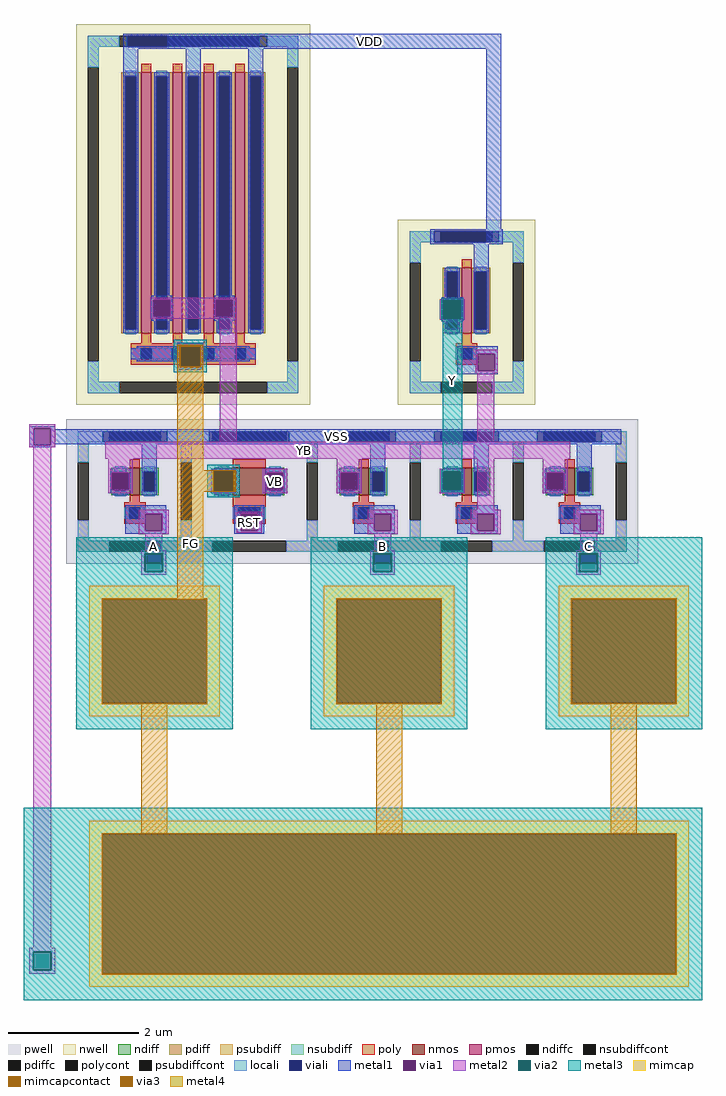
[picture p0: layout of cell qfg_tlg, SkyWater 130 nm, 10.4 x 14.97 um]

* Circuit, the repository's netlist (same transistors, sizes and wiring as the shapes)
* schematic netlist of the v2 cell (generated from sim/v2/ngs.py)

.subckt qfg_tlg A B C RST VB Y YB FG VDD VSS
XMP  YB FG VDD VDD sky130_fd_pr__pfet_01v8 W=16.0 L=0.15
XMNI0 YB A VSS VSS sky130_fd_pr__nfet_01v8 W=0.42 L=0.15
XMNI1 YB B VSS VSS sky130_fd_pr__nfet_01v8 W=0.42 L=0.15
XMNI2 YB C VSS VSS sky130_fd_pr__nfet_01v8 W=0.42 L=0.15
XCI0 FG A sky130_fd_pr__cap_mim_m3_1 W=2.0 L=2.0 MF=1
XCI1 FG B sky130_fd_pr__cap_mim_m3_1 W=2.0 L=2.0 MF=1
XCI2 FG C sky130_fd_pr__cap_mim_m3_1 W=2.0 L=2.0 MF=1
XCBL FG VSS sky130_fd_pr__cap_mim_m3_1 W=9.2 L=2.55 MF=1
XMR  FG RST VB VSS sky130_fd_pr__nfet_01v8 W=0.42 L=0.5
XIP  Y  YB VDD VDD sky130_fd_pr__pfet_01v8 W=1.0 L=0.15
XIN  Y  YB VSS VSS sky130_fd_pr__nfet_01v8 W=0.42 L=0.15
.ends qfg_tlg

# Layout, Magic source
magic
tech sky130A
magscale 1 2
<< metal1 >>
rect 144 2840 190 2922
rect 279 2918 1304 2964
rect 336 2840 382 2918
rect 528 2840 574 2918
rect 1258 2322 1304 2918
rect 1219 2318 1304 2322
rect 1219 2240 1265 2318
rect 231 2148 295 2160
rect 231 2096 237 2148
rect 289 2096 295 2148
rect 231 2084 295 2096
rect 423 2148 487 2160
rect 423 2096 429 2148
rect 481 2096 487 2148
rect 423 2084 487 2096
rect 1122 2144 1186 2156
rect 1122 2092 1128 2144
rect 1180 2092 1186 2144
rect 1122 2080 1186 2092
rect 310 2005 390 2016
rect 186 2001 532 2005
rect 186 1959 324 2001
rect 310 1949 324 1959
rect 376 1959 532 2001
rect 1169 1982 1294 2005
rect 376 1949 390 1959
rect 310 1934 390 1949
rect 1169 1930 1232 1982
rect 1284 1930 1294 1982
rect 1169 1920 1294 1930
rect -144 1754 -64 1760
rect -144 1702 -130 1754
rect -78 1751 -64 1754
rect -78 1705 1672 1751
rect -78 1702 -64 1705
rect -144 1696 -64 1702
rect 104 1618 168 1630
rect 201 1620 247 1705
rect 104 1566 110 1618
rect 162 1566 168 1618
rect 104 1554 168 1566
rect 420 1618 484 1630
rect 420 1566 426 1618
rect 478 1566 484 1618
rect 420 1554 484 1566
rect 578 1618 642 1630
rect 578 1566 584 1618
rect 636 1566 642 1618
rect 578 1554 642 1566
rect 806 1618 870 1630
rect 903 1620 949 1705
rect 806 1566 812 1618
rect 864 1566 870 1618
rect 806 1554 870 1566
rect 1122 1618 1186 1630
rect 1219 1620 1265 1705
rect 1122 1566 1128 1618
rect 1180 1566 1186 1618
rect 1122 1554 1186 1566
rect 1438 1618 1502 1630
rect 1535 1620 1581 1705
rect 1438 1566 1444 1618
rect 1496 1566 1502 1618
rect 1438 1554 1502 1566
rect 151 1492 276 1517
rect 151 1440 212 1492
rect 264 1440 276 1492
rect 151 1430 276 1440
rect 485 1492 577 1517
rect 485 1440 505 1492
rect 557 1440 577 1492
rect 485 1430 577 1440
rect 853 1492 978 1517
rect 853 1440 914 1492
rect 966 1440 978 1492
rect 853 1430 978 1440
rect 1169 1492 1294 1517
rect 1169 1440 1230 1492
rect 1282 1440 1294 1492
rect 1169 1430 1294 1440
rect 1485 1492 1610 1517
rect 1485 1440 1546 1492
rect 1598 1440 1610 1492
rect 1485 1430 1610 1440
<< via1 >>
rect 237 2096 289 2148
rect 429 2096 481 2148
rect 1128 2092 1180 2144
rect 324 1949 376 2001
rect 1232 1930 1284 1982
rect -130 1702 -78 1754
rect 110 1566 162 1618
rect 426 1566 478 1618
rect 584 1566 636 1618
rect 812 1566 864 1618
rect 1128 1566 1180 1618
rect 1444 1566 1496 1618
rect 212 1440 264 1492
rect 505 1440 557 1492
rect 914 1440 966 1492
rect 1230 1440 1282 1492
rect 1546 1440 1598 1492
<< metal2 >>
rect 227 2148 492 2154
rect 227 2096 237 2148
rect 289 2096 429 2148
rect 481 2096 492 2148
rect 227 2090 492 2096
rect 312 2003 388 2010
rect 312 1947 322 2003
rect 378 1947 388 2003
rect 312 1940 388 1947
rect -144 1754 -64 1766
rect -144 1702 -130 1754
rect -78 1702 -64 1754
rect 440 1712 492 2090
rect 1116 2146 1192 2150
rect 1116 2090 1126 2146
rect 1182 2090 1192 2146
rect 1116 2086 1192 2090
rect 1226 1982 1294 1994
rect 1226 1930 1232 1982
rect 1284 1930 1294 1982
rect 1226 1924 1294 1930
rect 1230 1712 1282 1924
rect -144 1696 -64 1702
rect -132 160 -76 1696
rect 90 1660 1516 1712
rect 98 1618 174 1660
rect 98 1566 110 1618
rect 162 1566 174 1618
rect 98 1554 174 1566
rect 414 1620 490 1630
rect 414 1564 424 1620
rect 480 1564 490 1620
rect 414 1554 490 1564
rect 572 1618 648 1630
rect 572 1566 584 1618
rect 636 1566 648 1618
rect 572 1554 648 1566
rect 800 1618 876 1660
rect 800 1566 812 1618
rect 864 1566 876 1618
rect 800 1554 876 1566
rect 1116 1620 1192 1630
rect 1116 1564 1126 1620
rect 1182 1564 1192 1620
rect 1116 1554 1192 1564
rect 1230 1504 1282 1660
rect 1432 1618 1508 1660
rect 1432 1566 1444 1618
rect 1496 1566 1508 1618
rect 1432 1554 1508 1566
rect 192 1492 284 1504
rect 192 1440 212 1492
rect 264 1440 284 1492
rect 192 1428 284 1440
rect 493 1492 569 1498
rect 493 1440 505 1492
rect 557 1440 569 1492
rect 493 1434 569 1440
rect 894 1492 986 1504
rect 894 1440 914 1492
rect 966 1440 986 1492
rect 894 1428 986 1440
rect 1210 1492 1302 1504
rect 1210 1440 1230 1492
rect 1282 1440 1302 1492
rect 1210 1428 1302 1440
rect 1526 1492 1618 1504
rect 1526 1440 1546 1492
rect 1598 1440 1618 1492
rect 1526 1428 1618 1440
rect 212 1380 264 1428
rect 914 1380 966 1428
rect 1546 1380 1598 1428
rect 200 1370 276 1380
rect 200 1314 210 1370
rect 266 1314 276 1370
rect 200 1304 276 1314
rect 902 1370 978 1380
rect 902 1314 912 1370
rect 968 1314 978 1370
rect 902 1304 978 1314
rect 1534 1370 1610 1380
rect 1534 1314 1544 1370
rect 1600 1314 1610 1370
rect 1534 1304 1610 1314
rect -144 148 -64 160
rect -144 92 -132 148
rect -76 92 -64 148
rect -144 80 -64 92
<< via2 >>
rect 322 2001 378 2003
rect 322 1949 324 2001
rect 324 1949 376 2001
rect 376 1949 378 2001
rect 322 1947 378 1949
rect 1126 2144 1182 2146
rect 1126 2092 1128 2144
rect 1128 2092 1180 2144
rect 1180 2092 1182 2144
rect 1126 2090 1182 2092
rect 424 1618 480 1620
rect 424 1566 426 1618
rect 426 1566 478 1618
rect 478 1566 480 1618
rect 424 1564 480 1566
rect 1126 1618 1182 1620
rect 1126 1566 1128 1618
rect 1128 1566 1180 1618
rect 1180 1566 1182 1618
rect 1126 1564 1182 1566
rect 210 1314 266 1370
rect 912 1314 968 1370
rect 1544 1314 1600 1370
rect -132 92 -76 148
<< metal3 >>
rect 1120 2146 1188 2152
rect 1120 2090 1126 2146
rect 1182 2090 1188 2146
rect 1120 2084 1188 2090
rect 300 2007 400 2025
rect 300 1943 318 2007
rect 382 1943 400 2007
rect 300 1925 400 1943
rect 402 1624 502 1642
rect 1124 1626 1184 2084
rect 402 1560 420 1624
rect 484 1560 502 1624
rect 402 1542 502 1560
rect 1120 1620 1188 1626
rect 1120 1564 1126 1620
rect 1182 1564 1188 1620
rect 1120 1558 1188 1564
rect 0 1370 480 1420
rect 0 1314 210 1370
rect 266 1314 480 1370
rect 0 830 480 1314
rect 720 1370 1200 1420
rect 720 1314 912 1370
rect 968 1314 1200 1370
rect 720 830 1200 1314
rect 1440 1370 1920 1420
rect 1440 1314 1544 1370
rect 1600 1314 1920 1370
rect 1440 830 1920 1314
rect -160 148 1920 590
rect -160 92 -132 148
rect -76 92 1920 148
rect -160 0 1920 92
<< via3 >>
rect 318 2003 382 2007
rect 318 1947 322 2003
rect 322 1947 378 2003
rect 378 1947 382 2003
rect 318 1943 382 1947
rect 420 1620 484 1624
rect 420 1564 424 1620
rect 424 1564 480 1620
rect 480 1564 484 1620
rect 420 1560 484 1564
<< mimcap >>
rect 40 1230 440 1270
rect 40 910 80 1230
rect 400 910 440 1230
rect 40 870 440 910
rect 760 1230 1160 1270
rect 760 910 800 1230
rect 1120 910 1160 1230
rect 760 870 1160 910
rect 1480 1230 1880 1270
rect 1480 910 1520 1230
rect 1840 910 1880 1230
rect 1480 870 1880 910
rect 40 510 1880 550
rect 40 80 80 510
rect 1840 80 1880 510
rect 40 40 1880 80
<< mimcapcontact >>
rect 80 910 400 1230
rect 800 910 1120 1230
rect 1520 910 1840 1230
rect 80 80 1840 510
<< metal4 >>
rect 310 2007 390 2010
rect 310 1943 318 2007
rect 382 1943 390 2007
rect 310 1625 390 1943
rect 310 1624 490 1625
rect 310 1560 420 1624
rect 484 1560 490 1624
rect 310 1559 490 1560
rect 310 1232 390 1559
rect 78 1230 402 1232
rect 78 910 80 1230
rect 400 910 402 1230
rect 78 908 402 910
rect 798 1230 1122 1232
rect 798 910 800 1230
rect 1120 910 1122 1230
rect 798 908 1122 910
rect 1518 1230 1842 1232
rect 1518 910 1520 1230
rect 1840 910 1842 1230
rect 1518 908 1842 910
rect 200 512 280 908
rect 920 512 1000 908
rect 1640 512 1720 908
rect 78 510 1842 512
rect 78 80 80 510
rect 1840 80 1842 510
rect 78 78 1842 80
use sky130_fd_pr__nfet_01v8_M48NH5  MIN
transform 1 0 1198 0 1 1560
box -211 -221 211 221
use sky130_fd_pr__pfet_01v8_SEBX2B  MIP
transform 1 0 1198 0 1 2110
box -211 -284 211 284
use sky130_fd_pr__nfet_01v8_M48NH5  MNA
transform 1 0 180 0 1 1560
box -211 -221 211 221
use sky130_fd_pr__nfet_01v8_M48NH5  MNB
transform 1 0 882 0 1 1560
box -211 -221 211 221
use sky130_fd_pr__nfet_01v8_M48NH5  MNC
transform 1 0 1514 0 1 1560
box -211 -221 211 221
use sky130_fd_pr__pfet_01v8_V7R9RB  MP
transform 1 0 359 0 1 2410
box -359 -584 359 584
use sky130_fd_pr__nfet_01v8_EQ7N4B  MR
transform 1 0 531 0 1 1560
box -246 -221 246 221
<< labels >>
rlabel metal3 238 1390 238 1390 0 A
port 1 nsew
rlabel metal3 940 1390 940 1390 0 B
port 2 nsew
rlabel metal3 1572 1390 1572 1390 0 C
port 3 nsew
rlabel via1 610 1592 610 1592 0 VB
port 4 nsew
rlabel via1 531 1466 531 1466 0 RST
port 5 nsew
rlabel metal4 350 1400 350 1400 0 FG
port 6 nsew
rlabel metal3 1154 1900 1154 1900 0 Y
port 7 nsew
rlabel metal2 700 1686 700 1686 0 YB
port 8 nsew
rlabel metal1 900 2941 900 2941 0 VDD
port 9 nsew
rlabel metal1 800 1728 800 1728 0 VSS
port 10 nsew
<< end >>

# cell sky130_fd_pr__nfet_01v8_M48NH5: kit device sky130_fd_pr__nfet_01v8, w 0.42 l 0.15 m 1 nf 1 diffcov 100 polycov 100 guard 1 glc 1 grc 1 gtc 1 gbc 1 tbcov 100 rlcov 100 topc 0 botc 1 poverlap 0 doverlap 1 lmin 0.15 wmin 0.42 class mosfet compatible {sky130_fd_pr__nfet_01v8 sky130_fd_pr__nfet_01v8_lvt sky130_fd_bs_flash__special_sonosfet_star sky130_fd_pr__nfet_g5v0d10v5 sky130_fd_pr__nfet_05v0_nvt sky130_fd_pr__nfet_03v3_nvt} full_metal 1 conn_gates 0 viasrc 100 viadrn 100 viagate 100 viagb 0 viagr 0 viagl 0 viagt 70 doports 1

# cell sky130_fd_pr__pfet_01v8_SEBX2B: kit device sky130_fd_pr__pfet_01v8, w 1.0 l 0.15 m 1 nf 1 diffcov 100 polycov 100 guard 1 glc 1 grc 1 gtc 1 gbc 1 tbcov 100 rlcov 100 topc 0 botc 1 poverlap 0 doverlap 1 lmin 0.15 wmin 0.42 class mosfet compatible {sky130_fd_pr__pfet_01v8 sky130_fd_pr__pfet_01v8_lvt sky130_fd_pr__pfet_01v8_hvt sky130_fd_pr__pfet_g5v0d10v5} full_metal 1 conn_gates 0 viasrc 100 viadrn 100 viagate 100 viagb 0 viagr 0 viagl 0 viagt 70 doports 1

# cell sky130_fd_pr__pfet_01v8_V7R9RB: kit device sky130_fd_pr__pfet_01v8, w 4.0 l 0.15 m 1 nf 4 diffcov 100 polycov 100 guard 1 glc 1 grc 1 gtc 1 gbc 1 tbcov 100 rlcov 100 topc 0 botc 1 poverlap 0 doverlap 1 lmin 0.15 wmin 0.42 class mosfet compatible {sky130_fd_pr__pfet_01v8 sky130_fd_pr__pfet_01v8_lvt sky130_fd_pr__pfet_01v8_hvt sky130_fd_pr__pfet_g5v0d10v5} full_metal 1 conn_gates 1 viasrc 100 viadrn 100 viagate 100 viagb 0 viagr 0 viagl 0 viagt 70 doports 1

# cell sky130_fd_pr__nfet_01v8_EQ7N4B: kit device sky130_fd_pr__nfet_01v8, w 0.42 l 0.5 m 1 nf 1 diffcov 100 polycov 100 guard 1 glc 1 grc 1 gtc 1 gbc 1 tbcov 100 rlcov 100 topc 0 botc 1 poverlap 0 doverlap 1 lmin 0.15 wmin 0.42 class mosfet compatible {sky130_fd_pr__nfet_01v8 sky130_fd_pr__nfet_01v8_lvt sky130_fd_bs_flash__special_sonosfet_star sky130_fd_pr__nfet_g5v0d10v5 sky130_fd_pr__nfet_05v0_nvt sky130_fd_pr__nfet_03v3_nvt} full_metal 1 conn_gates 0 viasrc 100 viadrn 100 viagate 100 viagb 0 viagr 0 viagl 0 viagt 70 doports 1
